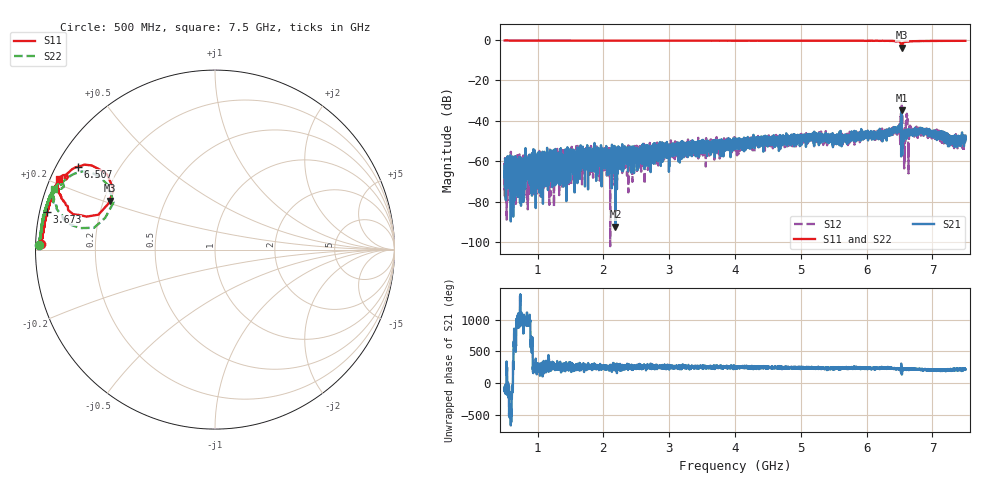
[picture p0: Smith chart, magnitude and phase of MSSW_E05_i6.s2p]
!Keysight Technologies,M9374A,MY55442783,A.12.55.05
!Date: Thursday, May 20, 2021 12:27:03
!Correction: S11(Full 2 Port(1,2))
!S21(Full 2 Port(1,2))
!S12(Full 2 Port(1,2))
!S22(Full 2 Port(1,2))
!S2P File: Measurements: S11, S21, S12, S22:
# Hz S  RI  R 50
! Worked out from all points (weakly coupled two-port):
!   7001 points, 500 MHz to 7.5 GHz, reference 50 ohm
!   highest |S21| = -34.68 dB at 6.532 GHz (marker M1); lowest = -92.3 dB at 2.184 GHz (marker M2)
!   lowest |S11| = -3.8 dB at 6.531 GHz (marker M3), VSWR 4.64, Z = 11.3 + j10.5 ohm
!   |S11| at or under -10 dB: nowhere
!   |S22| runs from -4.2 to -0.2 dB; largest |S21 - S12| = 0.021
!   S11 on the Smith chart (normalised r, x): 500 MHz: 0.02, +0.02; 3.673 GHz: 0.02, +0.11; 6.507 GHz: 0.06, +0.28; 7.5 GHz: 0.03, +0.21
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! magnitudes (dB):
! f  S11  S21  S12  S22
! 500 MHz  -0.3  -65.8  -70.6  -0.2
! 537 MHz  -0.3  -61.8  -60.1  -0.2
! 714 MHz  -0.3  -70.2  -59.9  -0.2
! 871 MHz  -0.3  -63.4  -58.1  -0.2
! 1.667 GHz  -0.3  -56.5  -56.5  -0.2
! 2.184 GHz  -0.4  -92.3  -56.5  -0.2
! 2.834 GHz  -0.3  -54.5  -58.2  -0.2
! 3.673 GHz  -0.3  -52.5  -50.4  -0.3
! 4 GHz  -0.4  -53.0  -50.2  -0.3
! 5.167 GHz  -0.4  -48.6  -48.3  -0.3
! 6.334 GHz  -0.4  -44.5  -46.1  -0.4
! 6.478 GHz  -0.6  -43.5  -43.0  -0.6
! 6.507 GHz  -1.0  -41.6  -46.8  -0.9
! 6.531 GHz  -3.8  -34.7  -36.0  -3.9
! 6.532 GHz  -3.8  -34.7  -33.7  -4.1
! 6.559 GHz  -1.3  -45.9  -53.8  -1.2
! 6.628 GHz  -0.8  -46.7  -46.5  -0.7
! 6.662 GHz  -0.7  -45.1  -42.4  -0.6
! 6.682 GHz  -0.6  -45.3  -45.0  -0.5
! 6.917 GHz  -0.5  -45.2  -45.5  -0.4
! 7.301 GHz  -0.4  -49.1  -51.2  -0.4
! 7.5 GHz  -0.4  -47.3  -49.2  -0.4
